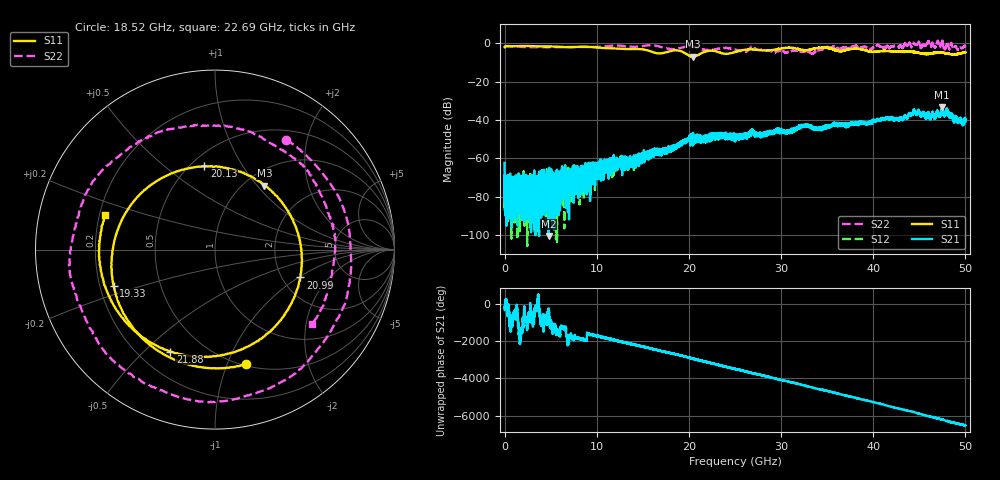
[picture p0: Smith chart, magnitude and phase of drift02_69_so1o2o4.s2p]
!Created with skrf (http://scikit-rf.org).
# Hz S RI R 50.0
!freq ReS11 ImS11 ReS21 ImS21 ReS12 ImS12 ReS22 ImS22
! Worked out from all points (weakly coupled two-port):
!   10001 points, 300 kHz to 50 GHz, reference 50 ohm
!   highest |S21| = -33.18 dB at 47.49 GHz (marker M1); lowest = -100.7 dB at 4.78 GHz (marker M2)
!   lowest |S11| = -6.9 dB at 20.45 GHz (marker M3), VSWR 2.64, Z = 61 + j54.7 ohm
!   |S11| at or under -10 dB: nowhere
!   |S22| runs from -5.3 to 1.6 dB; largest |S21 - S12| = 0.0033
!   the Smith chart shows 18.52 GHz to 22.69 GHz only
!   S11 on the Smith chart (normalised r, x): 18.52 GHz: 0.51, -1.17; 19.33 GHz: 0.26, -0.16; 20.13 GHz: 0.58, +0.70; 20.99 GHz: 2.50, -1.04; 21.88 GHz: 0.33, -0.60; 22.69 GHz: 0.22, +0.15
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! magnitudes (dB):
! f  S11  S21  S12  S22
! 300 kHz  -2.0  -62.8  -61.8  -1.3
! 255.3 MHz  -1.4  -74.6  -69.9  -1.4
! 435.3 MHz  -1.4  -69.3  -76.7  -1.4
! 4.78 GHz  -1.6  -100.7  -73.7  -2.0
! 6.915 GHz  -1.9  -70.2  -70.0  -1.9
! 8.335 GHz  -1.7  -73.1  -71.2  -1.9
! 16.67 GHz  -5.2  -58.1  -56.6  -1.5
! 18.52 GHz  -3.6  -53.7  -54.4  -2.8
! 19.33 GHz  -4.4  -51.7  -51.3  -2.1
! 20.13 GHz  -6.6  -51.5  -49.4  -1.5
! 20.45 GHz  -6.9  -49.8  -48.4  -1.8
! 20.99 GHz  -6.0  -49.9  -49.2  -2.3
! 21.88 GHz  -4.2  -49.6  -49.6  -3.4
! 22.69 GHz  -3.9  -47.1  -48.0  -3.3
! 25 GHz  -4.5  -49.3  -47.8  -3.3
! 26.11 GHz  -3.3  -48.3  -48.9  -4.3
! 26.9 GHz  -3.2  -46.2  -46.2  -1.7
! 33.34 GHz  -3.0  -44.3  -43.8  -5.2
! 34.89 GHz  -2.1  -43.8  -43.5  -2.3
! 41.67 GHz  -4.0  -38.8  -39.3  -2.0
! 47.49 GHz  -4.8  -33.2  -33.9  1.3
! 50 GHz  -4.7  -39.6  -40.3  -1.5
